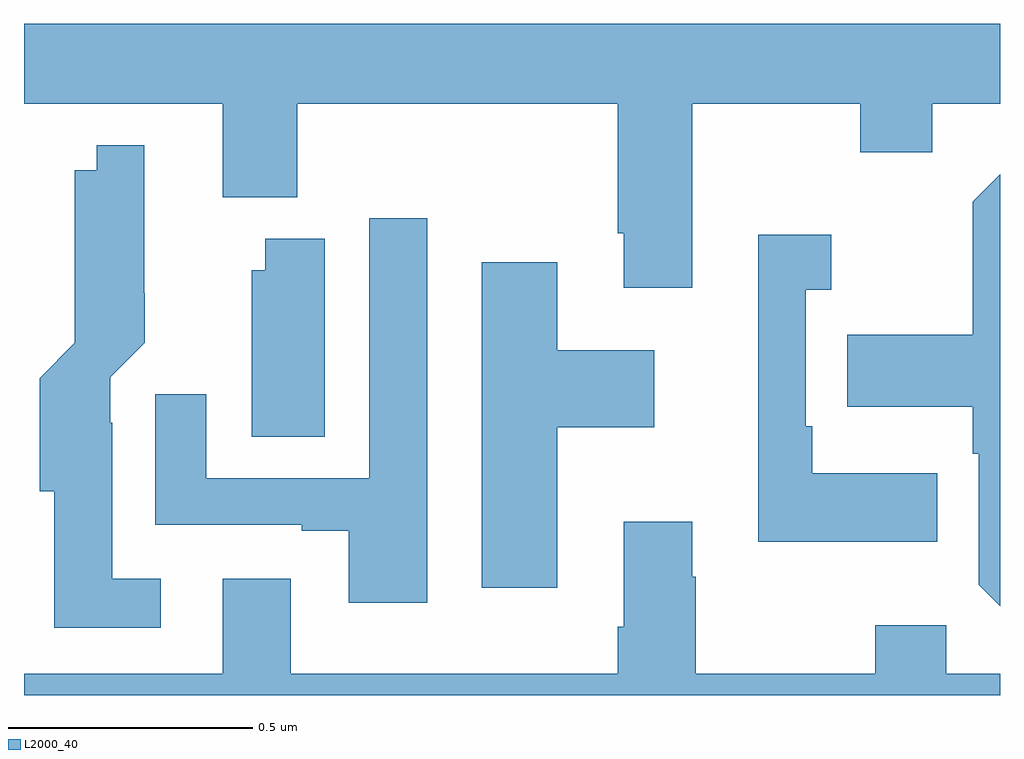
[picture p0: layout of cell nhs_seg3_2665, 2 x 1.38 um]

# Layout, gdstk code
import gdstk
lib = gdstk.Library(unit=1e-6, precision=1e-09)
def P(c, l, *ps):  # polygons
    for p in ps: c.add(gdstk.Polygon(p, *l))
L2000_40 = (2000, 40)

nhs_seg3_2665 = lib.new_cell('nhs_seg3_2665')
P(nhs_seg3_2665, L2000_40, [(145.369,671.612),(145.714,671.612),(145.714,671.513),(145.861,671.513),(145.861,671.612),(146,671.612),(146,671.776),(144,671.776),(144,671.612),(144.407,671.612),(144.407,671.42),(144.56,671.42),(144.56,671.612),(145.217,671.612),(145.217,671.347),(145.229,671.347),(145.229,671.235),(145.369,671.235)],
  [(144.28,670.639),(144.181,670.639),(144.181,670.958),(144.177,670.958),(144.177,671.052),(144.247,671.122),(144.247,671.224),(144.246,671.224),(144.246,671.527),(144.149,671.527),(144.149,671.476),(144.104,671.476),(144.104,671.122),(144.032,671.05),(144.032,670.818),(144.062,670.818),(144.062,670.538),(144.28,670.538)],
  [(146,671.468),(145.944,671.411),(145.944,671.139),(145.687,671.139),(145.687,670.991),(145.944,670.991),(145.944,670.895),(145.956,670.895),(145.956,670.626),(146,670.582)],
  [(144.826,671.377),(144.707,671.377),(144.707,670.845),(144.373,670.845),(144.373,671.017),(144.269,671.017),(144.269,670.749),(144.569,670.749),(144.569,670.737),(144.665,670.737),(144.665,670.59),(144.826,670.59)],
  [(145.871,670.855),(145.615,670.855),(145.615,670.951),(145.602,670.951),(145.602,671.231),(145.654,671.231),(145.654,671.344),(145.505,671.344),(145.505,670.715),(145.871,670.715)],
  [(144.616,671.335),(144.494,671.335),(144.494,671.271),(144.467,671.271),(144.467,670.93),(144.616,670.93)],
  [(145.093,670.949),(145.291,670.949),(145.291,671.107),(145.093,671.107),(145.093,671.287),(144.938,671.287),(144.938,670.62),(145.093,670.62)],
  [(146,670.444),(145.89,670.444),(145.89,670.543),(145.744,670.543),(145.744,670.444),(145.377,670.444),(145.377,670.643),(145.369,670.643),(145.369,670.756),(145.229,670.756),(145.229,670.54),(145.217,670.54),(145.217,670.444),(144.547,670.444),(144.547,670.639),(144.407,670.639),(144.407,670.444),(144,670.444),(144,670.4),(146,670.4)])

lib.write_gds('nhs_seg3_2665.gds')
